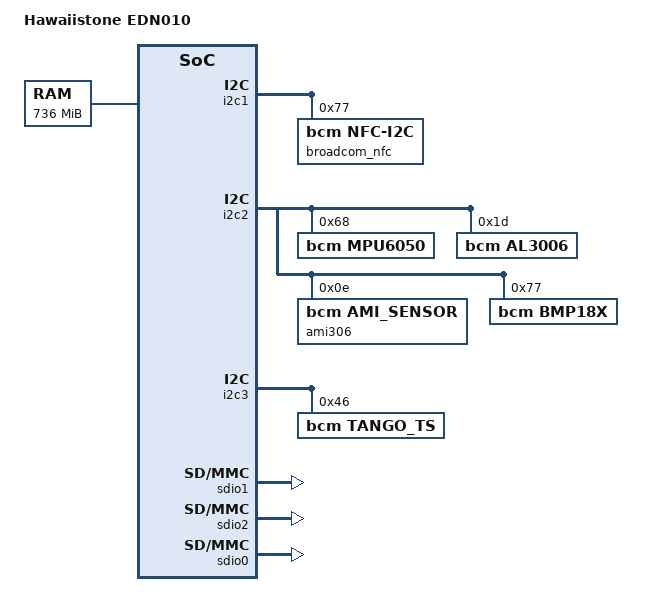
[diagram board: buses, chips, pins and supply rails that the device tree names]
/* Hawaii_edn010_secureOS Dts file */

/dts-v1/;

/include/ "bcm_21664.dtsi"
/include/ "hawaii_bcmpmu_edn010.dtsi"

/ {
	model = "Hawaiistone EDN010";
	compatible = "bcm,hawaii";

	chosen {
		bootargs = "console=ttyS0,115200n8 mem=736M gpt androidboot.console=ttyS0 crash_ramdump=1 logbuf_nocache=1";
	};

	memory@82000000 {
		device_type = "memory";
		reg = <0x82000000 0x2e000000>; /* 736 MB */
	};

	wd-tapper {
		count = <300>; /* Time in seconds */
		ch-num = <1>; /* Kona hub timer Channel number */
		timer-name = "aon-timer";
	};

	usb-phy@0x3F130000 {
		interrupts = <0 128 0x04>;
		chipreg-virtual-mem-base = <0x35004000>;
		usb-ahb-clk-name = "usb_otg_clk";
		mdio-mstr-clk-name = "mdiomaster";
	};
	usb-hsotgctrl@0x3F130000 {
		chipreg-virtual-mem-base = <0x35004000>;
		usb-ahb-clk-name = "usb_otg_clk";
		mdio-mstr-clk-name = "mdiomaster";
	};


	uart@3e000000 {
		clock-frequency = <26000000>;
		port-name = "console";
		clk-name = "uartb_clk";
	};

	uart@3e001000 {
		clock-frequency = <48000000>;
		port-name = "bluetooth";
		clk-name = "uartb2_clk";
	};

	uart@3e002000 {
		clock-frequency = <26000000>;
		port-name = "gps";
		clk-name = "uartb3_clk";
		/*If power-save-enable is set Change
		* PADCTRL_UBRTSN from UART3_RTSN to
		* UBRTSN (Debug UART) when GPS is inactive.*/
		power-save-enable = <1>;
	};

	i2c0: i2c@3e016000 {
		speed = <5>; /* BSC_BUS_SPEED_400 K */
		dynamic-speed = <1>;
		bsc-clk = "bsc1_clk";
		bsc-apb-clk = "bsc1_apb_clk";
		retries = <1>;
		is-pmu-i2c = <0>;
		fs-ref-frequency = <13000000>;
		hs-ref-frequency = <104000000>;
	};

	i2c1: i2c@3e017000 {
		speed = <5>; /* BSC_BUS_SPEED_400 K */
		dynamic-speed = <1>;
		bsc-clk = "bsc2_clk";
		bsc-apb-clk = "bsc2_apb_clk";
		retries = <3>;
		is-pmu-i2c = <0>;
		fs-ref-frequency = <13000000>;
		hs-ref-frequency = <104000000>;

		broadcom_nfc@77 {
			compatible = "bcm,nfc-i2c";
			reg = <0x77>;
			wake_gpio = <25>;
			en_gpio = <100>;
			irq_gpio = <90>;
			enable_txfifo = <1>;
			enable_rxfifo = <1>;
		};

	};

	i2c2: i2c@3e018000 {
		speed = <5>; /* BSC_BUS_SPEED_400 K */
		dynamic-speed = <1>;
		bsc-clk = "bsc3_clk";
		bsc-apb-clk = "bsc3_apb_clk";
		retries = <1>;
		is-pmu-i2c = <0>;
		fs-ref-frequency = <13000000>;
		hs-ref-frequency = <104000000>;

		mpu6050@68 {
			compatible = "bcm,mpu6050";
			reg = <0x68>;
			gpio-irq-pin = <33>;
			int-config = <0x10>;
			level-shifter = <0>;
			orientation = <0xFFFFFFFF 0 0
					0 1 0
					0 0 0xFFFFFFFF>;
		};

		al3006@1d {
			compatible = "bcm,al3006";
			reg = <0x1d>;
			gpio-irq-pin = <0xFFFFFFFF>;
		};

		ami306@0e {
			compatible = "bcm,ami_sensor";
			reg = <0x0e>;
			gpio-intr = <0>;	/*AMI_GPIO_INT*/
			gpio-drdy = <0>;	/*AMI_GPIO_DRDY*/
			dir = <6>;		/*AMI_DIR*/
			polarity = <2>;		/*AMI_POLARITY*/
			regulator-name = "cam2";
		};

		bmp18x@77 {
			compatible = "bcm,bmp18x";
			reg = <0x77>;
			regulator-name = "cam2";
		};

	};

	i2c3: i2c@3e01c000 {
		speed = <5>; /* BSC_BUS_SPEED_400 K */
		dynamic-speed = <1>;
		bsc-clk = "bsc4_clk";
		bsc-apb-clk = "bsc4_apb_clk";
		retries = <1>;
		is-pmu-i2c = <0>;
		fs-ref-frequency = <13000000>;
		hs-ref-frequency = <104000000>;

		tango_ts@46 {
			compatible = "bcm,tango_ts";
			reg = <0x46>;
			gpio-irq-pin = <73>;
			gpio-reset-pin = <70>;
			x-max-value = <480>;
			y-max-value = <800>;
			layout = <1>;
			num-bytes-to-read = <20>;
			is-multi-touch = <1>;
			is-resetable = <1>;
			num-fingers-idx = <0>;
			old-touching-idx = <1>;
			x1-lo-idx = <2>;
			x1-hi-idx = <3>;
			y1-lo-idx = <4>;
			y1-hi-idx = <5>;
			x2-lo-idx = <6>;
			x2-hi-idx = <7>;
			y2-lo-idx = <8>;
			y2-hi-idx = <9>;
			x1-width-idx = <10>;
			y1-width-idx = <11>;
			x2-width-idx = <12>;
			y2-width-idx = <13>;
			pressure-lo-idx = <18>;
			pressure-hi-idx = <19>;
			power-mode-idx = <20>;
			int-mode-idx = <21>;
			int-width-idx = <22>;
			min-finger-val = <0>;
			max-finger-val = <2>;
			panel-width = <56>;
			max-pressure = <800>;
                        /* Enable I2C autosense but disable timeout */
                        client_func_magic = <0x666C6167>;
                        client_func_map = <1>;
		};
	};

	i2c4: i2c@3500d000 {
		speed = <7>; /* BSC_BUS_SPEED_HS */
		dynamic-speed = <0>;
		bsc-clk = "pmu_bsc_clk";
		bsc-apb-clk = "pmu_bsc_apb";
		retries = <5>;
		is-pmu-i2c = <1>;
		fs-ref-frequency = <13000000>;
		hs-ref-frequency = <26000000>;
	};

	bluetooth-btlpm {
		compatible = "bcm,btlpm";
		bt-wake-gpio = <32>;
		host-wake-gpio = <72>;
		bt-uart-port = <1>;
	};

	bcmbt-rfkill {
		compatible = "bcm,bcmbt-rfkill";
		verg-gpio = <28>;
		n-reset-gpio = <0xFFFFFFFF>;
		aux0-gpio = <0xFFFFFFFF>; /* CLK32 */
		aux1-gpio = <0xFFFFFFFF>; /* UARTB_SEL,probably not required */
	};

	iommu_mm: iommu-mm {
		compatible = "bcm,iommu-m4u";
		iova_begin  = <0x80000000>;
		iova_size   = <0x80000000>;
		errbuf_size = <0x00001000>;
	};

	iovmm_mm: iovmm-mm {
		compatible = "bcm,iovmm";
		base = <0xc0000000>;
		size = <0x20000000>;
		order = <0>;
	};

	iovmm_mm_256mb: iovmm-mm-256mb {
		compatible = "bcm,iovmm";
		base = <0xe0000000>;
		size = <0x10000000>;
		order = <0>;
	};

	ion-system {
		compatible = "bcm,ion";
		id = <0>;
		type = <0>;
		iommu = <&iommu_mm>;
		iommu_iovmm = <&iovmm_mm_256mb>;
	};

	ion-carveout {
		compatible = "bcm,ion";
		id = <3>;
		type = <2>;
		base  = <0x90000000>;
		limit = <0xa0000000>;
		size  = <0x04000000>;
		lmk_enable = <0>;
		lmk_min_score_adj = <411>;
		lmk_min_free = <32>;
		iommu = <&iommu_mm>;
		iommu_iovmm = <&iovmm_mm_256mb>;
	};

	ion-cma {
		compatible = "bcm,ion";
		id = <2>;
		type = <4>;
		base  = <0x90000000>;
		limit = <0xa0000000>;
		size  = <0x0c000000>;
		lmk_enable = <1>;
		lmk_min_score_adj = <411>;
		lmk_min_free = <32>;
		iommu = <&iommu_mm>;
		iovmm = <&iovmm_mm_256mb>;
	};

	soc-back-camera {
		compatible = "bcm,soc-camera";
		reg = <0x3c 0x0>;
		bus-id = <0>;
		i2c-type = "ov5640";	/* i2c_board_info type */
		i2c-addr = <0x3c>;	/* i2c_board_info addr */
		i2c-adapter-id = <0>;
		module-name = "ov5640";
		if-type = <1>;		/* V4L2_SUBDEV_SENSOR_SERIAL */
		if-mode = <3>;		/* V4L2_SUBDEV_SENSOR_MODE_SERIAL_CSI2 */
		orientation = <1>;	/* V4L2_SUBDEV_SENSOR_LANDSCAPE */
		facing = <1>;		/* V4L2_SUBDEV_SENSOR_BACK */
		lanes = <2>;
		channel = <0>;
		phy-rate = <0>;
		pix-clk = <0>;
		regulators = "vsr_uc", "mmc1_vcc", "mmc2_vcc", "lvldo2_uc";
	};

	soc-front-camera {
		compatible = "bcm,soc-camera";
		reg = <0x3e 0x0>;
		bus-id = <0>;
		i2c-type = "ov7692";	/* i2c_board_info type */
		i2c-addr = <0x3e>;	/* i2c_board_info addr */
		i2c-adapter-id = <0>;
		module-name = "ov7692";
		if-type = <1>;		/* V4L2_SUBDEV_SENSOR_SERIAL */
		if-mode = <3>;		/* V4L2_SUBDEV_SENSOR_MODE_SERIAL_CSI2 */
		orientation = <1>;	/* V4L2_SUBDEV_SENSOR_LANDSCAPE */
		facing = <0>;		/* V4L2_SUBDEV_SENSOR_FRONT */
		lanes = <1>;
		channel = <1>;
		phy-rate = <0>;
		pix-clk = <0>;
		regulators = "lvldo2_uc", "mmc1_vcc", "mmc2_vcc", "vsr_uc";

	};

	kona-fb {
		module-name = "NT35516";
		reg-name = "cam2";
		rst-gpio = <&gpio 22 0>;
		rst-setup = <5>;	/* 5us */
		rst-pulse = <15>;	/* 15us */
		rst-hold = <10000>;	/* 10ms */
		/* rst-active-high */	/* Commented => Active Low */
		vmode;			/* Video mode */
		/* vburst = <0>; */	/* Non-burst mode */
		/* cmnd-LP; */		/* Commands in HS mode*/
		te-ctrl;		/* Tearing Effect Control enabled */
		col-mod-i = <3>;
		col-mod-o = <2>;
		width = <540>;
		height = <960>;
		fps = <60>;
		lanes = <3>;
		hs-bitrate = <330000000>;	/* 330mbps */
		lp-bitrate = <5000000>;	/* 5mbps */
		iommu = <&iommu_mm>;
		iovmm = <&iovmm_mm>;
		rotation = <0>;
	};

	tmon@0x34008000 {
		compatible = "bcm,tmon";
		reg = <0x34008000 0x1000>;
		interrupts = <0 183 4>;
		chipreg_addr = <0x35004000 0x1000>;
		thold_size = <4>; /*number of threshold levels*/
		poll_rate_ms = <30000>;
		hysteresis = <0>;
		flags = <2>;
		interval_ms = <5>;
		thold = <70 1
			80 1
			90 1
			100 2>;
		tmon_apb_clk = "tmon_apb";
		tmon_1m_clk = "tmon_1m_clk";
		falling = <5>;
	};

	memc@35008000 {
		compatible = "bcm,memc";
		reg = <0x35008000 0x1000>;
		flags = <0x3B>;
		chipreg_base = <0x35004000 0x1000>;
		memc0_aphy_base = <0x35008400 0x1000>;
		seq_busy_val = <2>;
		max_pwr = <3>;
	};

	sdio1 {
		compatible = "bcm,sdhci";
		reg = <0x3F190000 10000>;
		interrupts = <0 76 0x04>;
		id = <1>;
		data-pullup = <0>;
		is-8bit = <1>;
		devtype = <2>;		/*SDIO_DEV_TYPE_EMMC*/
		flags = <3>;		/*NON_REMOVABLE | RPM_EN*/
		pm_caps = <1>;		/*MMC_PM_KEEP_POWER*/
		peri-clk-name = "sdio2_clk";
		ahb-clk-name = "sdio2_ahb_clk";
		sleep-clk-name = "sdio2_sleep_clk";
		peri-clk-rate = <52000000>;
	};

	sdio2 {
		compatible = "bcm,sdhci";
		reg = <0x3F1A0000 10000>;
		interrupts = <0 74 0x04>;
		id = <2>;
		data-pullup = <0>;
		devtype = <1>;		/*SDIO_DEV_TYPE_WIFI*/
		flags = <2>;		/*REMOVABLE | RPM_EN*/
		peri-clk-name = "sdio3_clk";
		ahb-clk-name = "sdio3_ahb_clk";
		sleep-clk-name = "sdio3_sleep_clk";
		peri-clk-rate = <48000000>;
	};

	sdio0 {
		compatible = "bcm,sdhci";
		reg = <0x3F180000 10000>;
		interrupts = <0 77 0x04>;
		id = <0>;
		data-pullup = <0>;
		cd-gpio = <&gpio 91 0>;		/*SD_CARDDET_GPIO_PIN*/
		devtype = <0>;		/*SDIO_DEV_TYPE_SDMMC*/
		flags = <2>;		/*REMOVABLE | RPM_EN*/
		peri-clk-name = "sdio1_clk";
		ahb-clk-name = "sdio1_ahb_clk";
		sleep-clk-name = "sdio1_sleep_clk";
		peri-clk-rate = <48000000>;
		vddo-regulator-name = "vdd_sdio";
		vddsdxc-regulator-name = "vdd_sdxc";
	};

	wifi-driver {
		compatible = "bcm,bcm_wifi";
		wl-reset-gpio = <3>;
		host-wake-gpio = <74>;
		board-nvram-file = "/system/vendor/firmware/fw_wifi_nvram_4334_hs10.txt";
		module-name = "bcmdhd_4334";
	};

	keypad {
		row-num = <2>;
		col-num = <3>;
		row-col-count = <8>;
		key-name = "Vol Down Key", "Vol Up Key", "Search Key", "unused",
			"unused", "unused", "unused", "unused", "Home-Key",
			"Back Key", "Menu-Key", "unused", "unused", "unused",
			"unused", "unused", "unused", "unused", "unused",
			"unused", "unused", "unused", "unused", "unused",
			"unused", "unused", "unused", "unused", "unused",
			"unused", "unused", "unused", "unused", "unused",
			"unused", "unused", "unused", "unused", "unused",
			"unused", "unused", "unused", "unused", "unused",
			"unused", "unused", "unused", "unused", "unused",
			"unused", "unused", "unused", "unused", "unused",
			"unused", "unused", "unused", "unused", "unused",
			"unused", "unused", "unused", "unused", "unused";
		key-code = <114 115 217 0 0 0 0 0
			102 158 139 0 0 0 0 0
			0 0 0 0 0 0 0 0
			0 0 0 0 0 0 0 0
			0 0 0 0 0 0 0 0
			0 0 0 0 0 0 0 0
			0 0 0 0 0 0 0 0
			0 0 0 0 0 0 0 0>;
	};

	pwm-backlight {
		compatible = "bcm,pwm-backlight";
		reg = <0x0 0x0>;
		pwm-id = <2>;
		max-brightness = <32>;	/* Android calibrates to 32 levels */
		dft-brightness = <32>;
		polarity = <1>;		/* Inverted polarity */
		pwm-period-ns = <99900>; /* ~10010 Hz */
		pwm-request-label = "backlight";
	};

	mobicore {
		mobicore-base = <0x9d800000>;
		mobicore-size = <0x300000>;
	};

};
